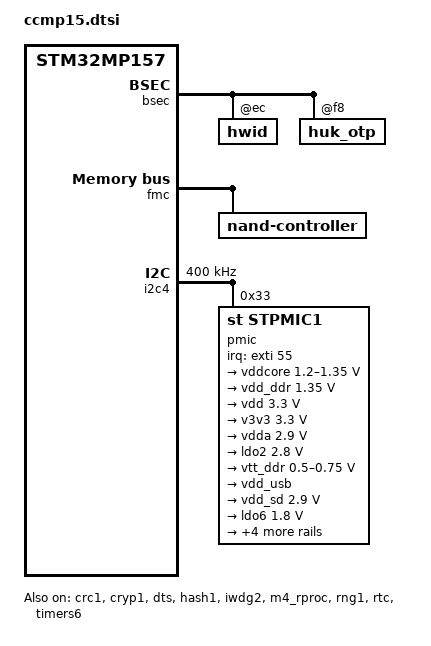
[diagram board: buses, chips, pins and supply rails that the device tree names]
// SPDX-License-Identifier: (GPL-2.0+ OR BSD-3-Clause)
/*
 * Copyright (C) STMicroelectronics 2019 - All Rights Reserved
 * Copyright (C) 2022-2024 Digi International Inc - All Rights Reserved
 */

#include "stm32mp157.dtsi"
#include "stm32mp15xc.dtsi"
#include "stm32mp15-pinctrl.dtsi"
#include "stm32mp15xxaa-pinctrl.dtsi"
#include <dt-bindings/input/input.h>
#include <dt-bindings/soc/stm32-hdp.h>
#include <dt-bindings/mfd/st,stpmic1.h>

/ {
	mca_gpio_uboot: mca_gpio {
		compatible = "digi,mca-gpio";
		gpio-controller;
	};

	mca_rtc_uboot: mca_rtc {
		compatible = "digi,mca-rtc";
	};

	mca_wdt_uboot: mca_wdt {
		compatible = "digi,mca-wdt";

		soft-rfsh {
			digi,full-reset;
			digi,no-way-out;
		};
	};

	reserved-memory {
		#address-cells = <1>;
		#size-cells = <1>;
		ranges;

		mcuram2: mcuram2@10000000 {
			compatible = "shared-dma-pool";
			reg = <0x10000000 0x40000>;
			no-map;
		};

		vdev0vring0: vdev0vring0@10040000 {
			compatible = "shared-dma-pool";
			reg = <0x10040000 0x1000>;
			no-map;
		};

		vdev0vring1: vdev0vring1@10041000 {
			compatible = "shared-dma-pool";
			reg = <0x10041000 0x1000>;
			no-map;
		};

		vdev0buffer: vdev0buffer@10042000 {
			compatible = "shared-dma-pool";
			reg = <0x10042000 0x4000>;
			no-map;
		};

		mcu_rsc_table: mcu_rsc_table@10048000 {
			compatible = "shared-dma-pool";
			reg = <0x10048000 0x8000>;
			no-map;
		};

		mcuram: mcuram@30000000 {
			compatible = "shared-dma-pool";
			reg = <0x30000000 0x40000>;
			no-map;
		};

		retram: retram@38000000 {
			compatible = "shared-dma-pool";
			reg = <0x38000000 0x10000>;
			no-map;
		};
	};

#if defined(CONFIG_FIT_SIGNATURE)
	signature {
	};
#endif

};

&adc {
	/* ANA0, ANA1 are dedicated pins and don't need pinctrl: only in6. */
	pinctrl-0 = <&adc1_in6_pins_a>;
	pinctrl-names = "default";
	vdd-supply = <&vdd>;
	vdda-supply = <&vdda>;
	vref-supply = <&vdda>;
	status = "disabled";
	adc1: adc@0 {
		st,adc-channels = <0 1 6>;
		/* 16.5 ck_cycles sampling time */
		st,min-sample-time-nsecs = <400>;
		status = "okay";
	};
};

&bsec {
	hwid: hwid@ec {
		reg = <0xec 0xc>;
		st,non-secure-otp;
	};

	huk_otp: huk_otp@f8 {
		reg = <0xf8 0x10>;
		st,non-secure-otp-provisioning;
	};
};

&cpu0{
	cpu-supply = <&vddcore>;
};

&cpu1{
	cpu-supply = <&vddcore>;
};

&crc1 {
	status = "okay";
};

&cryp1 {
	status = "okay";
};

&dac {
	pinctrl-names = "default";
	pinctrl-0 = <&dac_ch1_pins_a &dac_ch2_pins_a>;
	vref-supply = <&vdda>;
	status = "disabled";
	dac1: dac@1 {
		status = "okay";
	};
	dac2: dac@2 {
		status = "okay";
	};
};

&dma1 {
	sram = <&dma_pool>;
};

&dma2 {
	sram = <&dma_pool>;
};

&dts {
	status = "okay";
};

&fmc {
	pinctrl-names = "default", "sleep";
	pinctrl-0 = <&fmc_pins_a>;
	pinctrl-1 = <&fmc_sleep_pins_a>;
	status = "okay";

	nand-controller@4,0 {
		status = "okay";

		nand@0 {
			reg = <0>;
			nand-on-flash-bbt;
			#address-cells = <1>;
			#size-cells = <1>;
		};
	};
};

&gpu {
	contiguous-area = <&gpu_reserved>;
};

&hash1 {
	status = "okay";
};

&hdp {
	pinctrl-names = "default", "sleep";
	pinctrl-0 = <&hdp0_pins_a &hdp6_pins_a &hdp7_pins_a>;
	pinctrl-1 = <&hdp0_pins_sleep_a &hdp6_pins_sleep_a &hdp7_pins_sleep_a>;
	status = "disabled";

	muxing-hdp = <(STM32_HDP(0, HDP0_GPOVAL_0) |
		       STM32_HDP(6, HDP6_GPOVAL_6) |
		       STM32_HDP(7, HDP7_GPOVAL_7))>;
};

&i2c4 {
	pinctrl-names = "default", "sleep";
	pinctrl-0 = <&i2c4_pins_a>;
	pinctrl-1 = <&i2c4_sleep_pins_a>;
	i2c-scl-rising-time-ns = <185>;
	i2c-scl-falling-time-ns = <20>;
	clock-frequency = <400000>;
	status = "okay";
	/* spare dmas for other usage */
	/delete-property/dmas;
	/delete-property/dma-names;

	pmic: stpmic@33 {
		compatible = "st,stpmic1";
		reg = <0x33>;
		interrupts-extended = <&exti 55 IRQ_TYPE_EDGE_FALLING>;
		interrupt-controller;
		#interrupt-cells = <2>;
		status = "okay";
		regulators {
			compatible = "st,stpmic1-regulators";
			buck1-supply = <&vin>;
			buck2-supply = <&vin>;
			buck3-supply = <&vin>;
			buck4-supply = <&vin>;
			ldo1-supply = <&v3v3>;
			ldo2-supply = <&v3v3>;
			ldo3-supply = <&vdd_ddr>;
			ldo4-supply = <&vin>;
			ldo5-supply = <&v3v3>;
			ldo6-supply = <&v3v3>;
			vref_ddr-supply = <&vin>;
			boost-supply = <&vin>;
			pwr_sw1-supply = <&bst_out>;
			pwr_sw2-supply = <&bst_out>;

			vddcore: buck1 {
				regulator-name = "vddcore";
				regulator-min-microvolt = <1200000>;
				regulator-max-microvolt = <1350000>;
				regulator-always-on;
				regulator-initial-mode = <0>;
				regulator-over-current-protection;
			};

			vdd_ddr: buck2 {
				regulator-name = "vdd_ddr";
				regulator-min-microvolt = <1350000>;
				regulator-max-microvolt = <1350000>;
				regulator-always-on;
				regulator-initial-mode = <0>;
				regulator-over-current-protection;
			};

			vdd: buck3 {
				regulator-name = "vdd";
				regulator-min-microvolt = <3300000>;
				regulator-max-microvolt = <3300000>;
				regulator-always-on;
				st,mask-reset;
				regulator-initial-mode = <0>;
				regulator-over-current-protection;
			};

			v3v3: buck4 {
				regulator-name = "v3v3";
				regulator-min-microvolt = <3300000>;
				regulator-max-microvolt = <3300000>;
				regulator-always-on;
				regulator-over-current-protection;
				regulator-initial-mode = <0>;
			};

			vdda: ldo1 {
				regulator-name = "vdda";
				regulator-min-microvolt = <2900000>;
				regulator-max-microvolt = <2900000>;
				interrupts = <IT_CURLIM_LDO1 0>;
			};

			ldo2: ldo2 {
				regulator-name = "ldo2";
				regulator-min-microvolt = <2800000>;
				regulator-max-microvolt = <2800000>;
				interrupts = <IT_CURLIM_LDO2 0>;
			};

			vtt_ddr: ldo3 {
				regulator-name = "vtt_ddr";
				regulator-min-microvolt = <500000>;
				regulator-max-microvolt = <750000>;
				regulator-always-on;
				regulator-over-current-protection;
			};

			vdd_usb: ldo4 {
				regulator-name = "vdd_usb";
				interrupts = <IT_CURLIM_LDO4 0>;
			};

			vdd_sd: ldo5 {
				regulator-name = "vdd_sd";
				regulator-min-microvolt = <2900000>;
				regulator-max-microvolt = <2900000>;
				interrupts = <IT_CURLIM_LDO5 0>;
				regulator-boot-on;
			};

			ldo6: ldo6 {
				regulator-name = "ldo6";
				regulator-min-microvolt = <1800000>;
				regulator-max-microvolt = <1800000>;
				interrupts = <IT_CURLIM_LDO6 0>;
				regulator-enable-ramp-delay = <300000>;
			};

			vref_ddr: vref_ddr {
				regulator-name = "vref_ddr";
				regulator-always-on;
				regulator-over-current-protection;
			};

			bst_out: boost {
				regulator-name = "bst_out";
				interrupts = <IT_OCP_BOOST 0>;
			};

			vbus_otg: pwr_sw1 {
				regulator-name = "vbus_otg";
				interrupts = <IT_OCP_OTG 0>;
			};

			vbus_sw: pwr_sw2 {
				regulator-name = "vbus_sw";
				interrupts = <IT_OCP_SWOUT 0>;
				regulator-active-discharge = <1>;
			};
		};

		onkey {
			compatible = "st,stpmic1-onkey";
			interrupts = <IT_PONKEY_F 0>, <IT_PONKEY_R 0>;
			interrupt-names = "onkey-falling", "onkey-rising";
			power-off-time-sec = <10>;
			status = "okay";
		};

		watchdog {
			compatible = "st,stpmic1-wdt";
			status = "disabled";
		};
	};
};

&ipcc {
	status = "okay";
};

&iwdg2 {
	timeout-sec = <32>;
	status = "okay";
};

&m4_rproc {
	memory-region = <&retram>, <&mcuram>, <&mcuram2>, <&vdev0vring0>,
			<&vdev0vring1>, <&vdev0buffer>, <&mcu_rsc_table>;
	mboxes = <&ipcc 0>, <&ipcc 1>, <&ipcc 2>;
	mbox-names = "vq0", "vq1", "shutdown";
	interrupt-parent = <&exti>;
	interrupts = <68 1>;
	wakeup-source;
	status = "okay";
};

&pwr_regulators {
	vdd-supply = <&vdd>;
	vdd_3v3_usbfs-supply = <&vdd_usb>;
};

&rng1 {
	status = "okay";
};

&rtc {
	status = "okay";
};

&sdmmc3 {
	pinctrl-names = "default", "opendrain", "sleep";
	pinctrl-0 = <&sdmmc3_b4_pins_a>;
	pinctrl-1 = <&sdmmc3_b4_od_pins_a>;
	pinctrl-2 = <&sdmmc3_b4_sleep_pins_a>;
	non-removable;
	no-1-8-v;
	bus-width = <4>;
	status = "disabled";
};

&sram {
	dma_pool: dma_pool@0 {
		reg = <0x50000 0x10000>;
		pool;
	};
};

&timers6 {
	status = "okay";
	/* spare dmas for other usage */
	/delete-property/dmas;
	/delete-property/dma-names;
	timer@5 {
		status = "okay";
	};
};

